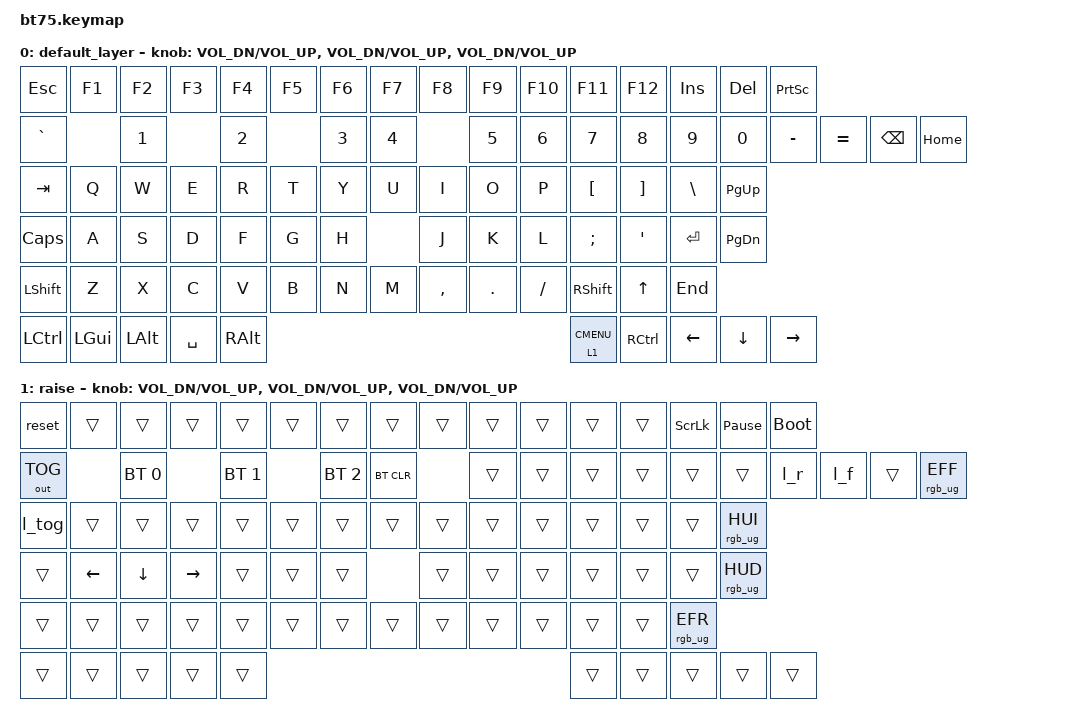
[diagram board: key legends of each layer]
#include <behaviors.dtsi>
#include <dt-bindings/zmk/keys.h>
#include <dt-bindings/zmk/bt.h>
#include <dt-bindings/zmk/rgb.h>
#include <dt-bindings/zmk/backlight.h>
#include <dt-bindings/zmk/ext_power.h>
#include <dt-bindings/zmk/outputs.h>

/ {
    macros {
        l_tog: l_tog {
            label = "ZM_light_toggle";
            compatible = "zmk,behavior-macro";
            #binding-cells = <0>;
            bindings
                = <&macro_tap &rgb_ug RGB_TOG &bl BL_TOG>
                ;
        };
	l_f: l_f {
            label = "ZM_light_forward";
            compatible = "zmk,behavior-macro";
            #binding-cells = <0>;
            bindings
                = <&macro_tap &rgb_ug RGB_BRI &bl BL_INC>
                ;
        };
	l_r: l_r {
            label = "ZM_light_reverse";
            compatible = "zmk,behavior-macro";
            #binding-cells = <0>;
            bindings
                = <&macro_tap &rgb_ug RGB_BRD &bl BL_DEC>
                ;
        };
    };
};

/ {
	keymap {
		compatible = "zmk,keymap";
		default_layer {
				// ------------------------------------------------------------------------------------------------------------
				// | ESC | F1  | F2  | F3  | F4  | F5  | F6  | F7  | F9  | F9  | F10 | F11 | F12 | PSCRN | INS | DEL	|
				// |  `  |  1  |  2  |  3  |  4  |  5  |  6  |  7  |  8  |  9  |  0  |  -  |  =  |   BKSP   | HOME	|
				// | TAB  |  Q  |  W  |  E  |  R  |  T  |  Y  |  U  |  I  |  O  |  P  |  [  |  ]  |    \    | PG UP |
				// | CAPS  |  A  |  S  |  D  |  F  |  G  |  H  |  J  |  K  |  L  |  ;  |  '  |     ENTER     | PG DN |
				// |  SHIFT    |  Z  |  X  |  C  |  V  |  B  |  N  |  M  |  ,  |  .  | /   |    SHIFT |  UP  |  END  |
				// |  CTL  |  WIN  |  ALT  |            SPACE               | ALT | 1  | CTRL |  LEFT | DOWN | RIGHT |
				// ------------------------------------------------------------------------------------------------------------
			bindings = <
				&kp ESC &kp F1 &kp F2 &kp F3 &kp F4 &kp F5 &kp F6 &kp F7 &kp F8 &kp F9 &kp F10 &kp F11 &kp F12 &kp INSERT &kp DEL &kp PSCRN
				&kp GRAVE &kp N1 &kp N2 &kp N3 &kp N4 &kp N5 &kp N6 &kp N7 &kp  N8   &kp  N9   &kp N0 &kp MINUS &kp EQUAL &kp BKSP &kp HOME
				&kp TAB  &kp Q  &kp W  &kp E  &kp R  &kp T  &kp Y  &kp U  &kp  I    &kp  O  &kp  P   &kp LBKT &kp RBKT  	&kp BSLH &kp PG_UP
				&kp CLCK  &kp A  &kp S  &kp D  &kp F  &kp G  &kp H  &kp J  &kp  K    &kp  L  &kp SEMI &kp SQT           	&kp RET &kp PG_DN
				&kp LSHFT  &kp Z  &kp X  &kp C  &kp V  &kp B  &kp N  &kp M  &kp COMMA &kp DOT &kp FSLH              &kp RSHFT &kp UP &kp END
				&kp LCTRL &kp LGUI &kp LALT            &kp SPACE                          &kp RALT  &lt 1 K_CMENU &kp RCTRL &kp LEFT &kp DOWN &kp RIGHT
			>;
			sensor-bindings = <&inc_dec_kp C_VOL_DN C_VOL_UP &inc_dec_kp C_VOL_DN C_VOL_UP &inc_dec_kp C_VOL_DN C_VOL_UP>;
		};
		raise {
			bindings = <
				&reset &trans &trans &trans &trans &trans &trans &trans &trans &trans &trans &trans &trans &kp SLCK &kp PAUSE_BREAK &bootloader
				&out OUT_TOG &bt BT_SEL 0 &bt BT_SEL 1 &bt BT_SEL 2 &bt BT_CLR &trans &trans &trans &trans &trans &trans &l_r &l_f &trans &rgb_ug RGB_EFF
				&l_tog &trans &trans &trans &trans &trans &trans &trans &trans &trans &trans &trans &trans &trans &rgb_ug RGB_HUI
				&trans    &kp LEFT &kp DOWN &kp RIGHT &trans &trans &trans &trans &trans &trans &trans &trans &trans &rgb_ug RGB_HUD
				&trans &trans &trans &trans &trans &trans &trans &trans &trans &trans &trans &trans &trans &rgb_ug RGB_EFR
				&trans &trans  &trans              &trans                            &trans   &trans  &trans &trans &trans &trans
			>;
			sensor-bindings = <&inc_dec_kp C_VOL_DN C_VOL_UP &inc_dec_kp C_VOL_DN C_VOL_UP &inc_dec_kp C_VOL_DN C_VOL_UP>;
		};
	};
};
